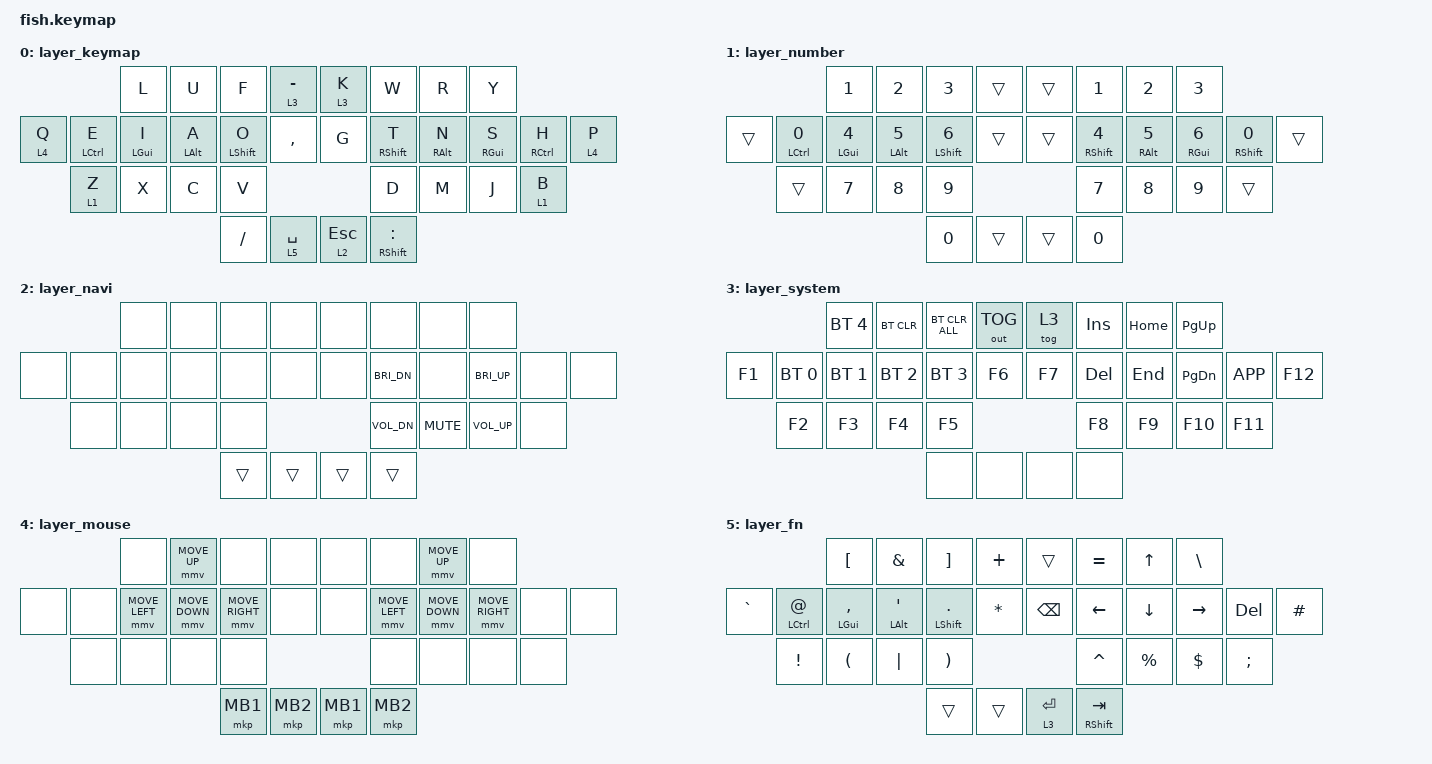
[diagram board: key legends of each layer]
// キーマップを更新する方法は https://o24.works/fish/guide を参照
// 視覚的に編集するには https://o24.works/fish/editor を参照


// 定義を呼んでくる
#include <behaviors.dtsi>
#include <dt-bindings/zmk/keys.h>
#include <dt-bindings/zmk/mouse.h>
#include <dt-bindings/zmk/bt.h>
#include <dt-bindings/zmk/outputs.h>
#include <dt-bindings/zmk/pointing.h>


// 特殊入力の挙動を調整できる

&mt {
    flavor = "tap-preferred";
    tapping-term-ms = <225>;
    quick-tap-ms = <200>;
    require-prior-idle-ms = <150>;
};

&lt {
    flavor = "balanced";
    tapping-term-ms = <175>;
    quick-tap-ms = <200>;
};

&sk {
};

&sl {
};

&caps_word {
};

&key_repeat {
};


/ {
    // 独自の入力を定義できる（上級者向け）

    behaviors {
    };

    macros {
    };

    conditional_layers {
    };


    // 複数キーの同時押しに特別の入力を設定できる
    // キー番号早見表：
    //       0  1  2  3     4  5  6  7
    // 8  9 10 11 12 13    14 15 16 17 18 19
    //   20 21 22 23          24 25 26 27
    //            28 29    30 31

    combos {
        compatible = "zmk,combos";
        timeout-ms = <100>;
        require-prior-idle-ms = <150>;

        combo_lang2 {
            key-positions = <21 22>;
            bindings = <&kp LANG2>;
        };

        combo_lang1 {
            key-positions = <25 26>;
            bindings = <&kp LANG1>;
        };

        combo_reset_L {
            key-positions = <3 8 13>;
            bindings = <&bootloader>;
        };

        combo_reset_R {
            key-positions = <4 14 19>;
            bindings = <&bootloader>;
        };

        combo_caps {
            key-positions = <5 6>;
            bindings = <&kp CAPS>;
        };

        combo_studio_unlock {
            key-positions = <20 21 22 23>;
            bindings = <&studio_unlock>;
        };
    };
    

    // キーに入力を割り当てる
    // 型（&...）は https://zmk.dev/docs/behaviors/... を参照
    // キーコードは https://zmk.dev/docs/codes/... を参照

    keymap {
        compatible = "zmk,keymap";

        layer_keymap {
            bindings = <
                        &kp L       &kp U       &kp F       &lt 3 MINUS         &lt 3 K     &kp W       &kp R       &kp Y       
&lt 4 Q     &mt LCTRL E &mt LGUI I  &mt LALT A  &mt LSHFT O &kp COMMA           &kp G       &mt RSHFT T &mt RALT N  &mt RGUI S  &mt RCTRL H &lt 4 P     
            &lt 1 Z     &kp X       &kp C       &kp V                                       &kp D       &kp M       &kp J       &lt 1 B     
                                                &kp FSLH    &lt 5 SPACE         &lt 2 ESC   &mt RSHFT COLON 
            >;
        };

        layer_number {
            bindings = <
                        &kp N1      &kp N2      &kp N3      &trans              &trans      &kp N1      &kp N2      &kp N3      
&trans      &mt LCTRL N0 &mt LGUI N4 &mt LALT N5 &mt LSHFT N6 &trans            &trans      &mt RSHFT N4 &mt RALT N5 &mt RGUI N6 &mt RSHFT N0 &trans    
            &trans      &kp N7      &kp N8      &kp N9                                      &kp N7      &kp N8      &kp N9      &trans      
                                                &kp N0      &trans              &trans      &kp N0      
            >;
        };

        layer_navi {
            bindings = <
                        &none       &none       &none       &none               &none       &none       &none       &none       
&none       &none       &none       &none       &none       &none               &none       &kp C_BRI_DN &none      &kp C_BRI_UP &none      &none       
            &none       &none       &none       &none                                       &kp C_VOL_DN &kp C_MUTE &kp C_VOL_UP &none      
                                                &trans      &trans              &trans      &trans      
            >;
        };

        layer_system {
            bindings = <
                        &bt BT_SEL 4 &bt BT_CLR &bt BT_CLR_ALL &out OUT_TOG     &tog 3      &kp INS     &kp HOME    &kp PG_UP   
&kp F1      &bt BT_SEL 0 &bt BT_SEL 1 &bt BT_SEL 2 &bt BT_SEL 3 &kp F6          &kp F7      &kp DEL     &kp END     &kp PG_DN   &kp K_APP   &kp F12     
            &kp F2      &kp F3      &kp F4      &kp F5                                      &kp F8      &kp F9      &kp F10     &kp F11     
                                                &none       &none               &none       &none       
            >;
        };

        layer_mouse {
            bindings = <
                        &none       &mmv MOVE_UP &none      &none               &none       &none       &mmv MOVE_UP &none      
&none       &none       &mmv MOVE_LEFT &mmv MOVE_DOWN &mmv MOVE_RIGHT &none     &none       &mmv MOVE_LEFT &mmv MOVE_DOWN &mmv MOVE_RIGHT &none &none   
            &none       &none       &none       &none                                       &none       &none       &none       &none       
                                                &mkp MB1    &mkp MB2            &mkp MB1    &mkp MB2    
            >;
        };

        layer_fn {
            bindings = <
                        &kp LBKT    &kp AMPS    &kp RBKT    &kp PLUS            &trans      &kp EQUAL   &kp UP      &kp BSLH    
&kp GRAVE   &mt LCTRL AT &mt LGUI COMMA &mt LALT SQT &mt LSHFT DOT &kp STAR     &kp BSPC    &kp LEFT    &kp DOWN    &kp RIGHT   &kp DEL     &kp HASH    
            &kp EXCL    &kp LPAR    &kp PIPE    &kp RPAR                                    &kp CARET   &kp PRCNT   &kp DLLR    &kp SEMI    
                                                &trans      &trans              &lt 3 RET   &mt RSHFT TAB
            >;
        };
    };
};
